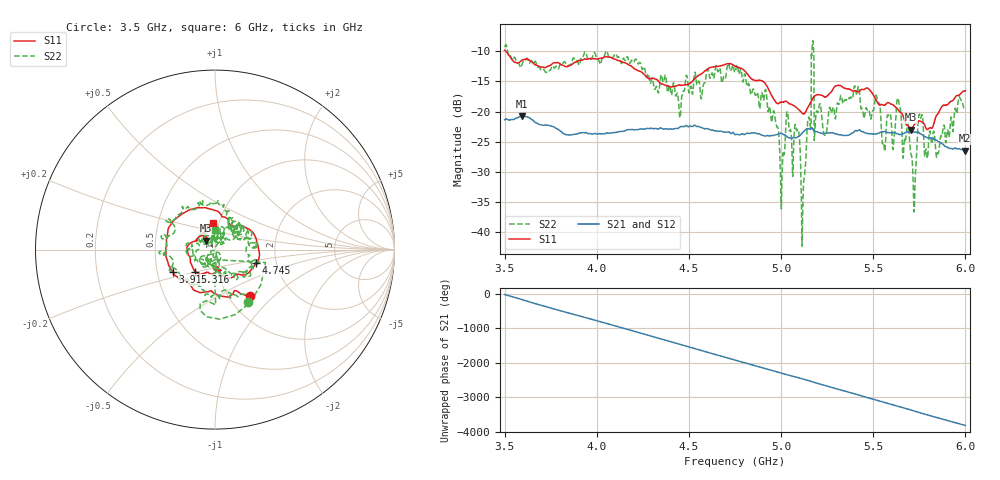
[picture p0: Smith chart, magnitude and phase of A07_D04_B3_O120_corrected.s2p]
! Created with skrf 1.9.0 (http://scikit-rf.org).
# Hz S RI R 50.0
!freq ReS11 ImS11 ReS21 ImS21 ReS12 ImS12 ReS22 ImS22
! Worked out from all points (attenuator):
!   1601 points, 3.5 GHz to 6 GHz, reference 50 ohm
!   highest |S21| = -20.78 dB at 3.592 GHz (marker M1); lowest = -26.5 dB at 5.998 GHz (marker M2)
!   lowest |S11| = -23.0 dB at 5.706 GHz (marker M3), VSWR 1.15, Z = 45.1 + j4.58 ohm
!   |S11| at or under -10 dB: 3.507 GHz to end of sweep
!   |S22| runs from -42.3 to -8.2 dB; largest |S21 - S12| = 0.0013
!   S11 on the Smith chart (normalised r, x): 3.5 GHz: 1.26, -0.72; 3.916 GHz: 0.60, -0.16; 4.745 GHz: 1.57, -0.25; 5.316 GHz: 0.78, -0.20; 6 GHz: 0.94, +0.29
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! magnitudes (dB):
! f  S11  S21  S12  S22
! 3.5 GHz  -9.8  -21.3  -21.3  -9.3
! 3.592 GHz  -11.5  -20.8  -20.8  -12.5
! 3.916 GHz  -11.5  -23.5  -23.5  -11.1
! 3.917 GHz  -11.5  -23.5  -23.5  -10.9
! 4.334 GHz  -15.0  -22.9  -22.8  -16.9
! 4.745 GHz  -12.4  -23.6  -23.6  -13.1
! 4.75 GHz  -12.4  -23.8  -23.7  -13.5
! 4.911 GHz  -15.2  -24.0  -24.0  -17.0
! 5.005 GHz  -18.4  -23.6  -23.6  -31.0
! 5.034 GHz  -18.4  -24.2  -24.1  -20.1
! 5.086 GHz  -19.4  -24.3  -24.2  -23.2
! 5.119 GHz  -20.3  -23.4  -23.3  -34.4
! 5.167 GHz  -18.0  -22.7  -22.6  -10.1
! 5.237 GHz  -17.6  -23.6  -23.6  -23.9
! 5.316 GHz  -15.6  -23.8  -23.8  -18.6
! 5.584 GHz  -18.5  -23.5  -23.4  -20.6
! 5.706 GHz  -23.0  -23.4  -23.3  -27.2
! 5.725 GHz  -22.1  -23.3  -23.3  -33.9
! 5.756 GHz  -21.6  -23.7  -23.6  -21.1
! 5.848 GHz  -20.4  -24.9  -24.8  -27.0
! 5.998 GHz  -16.6  -26.5  -26.4  -19.4
! 6 GHz  -16.5  -26.5  -26.4  -19.4
